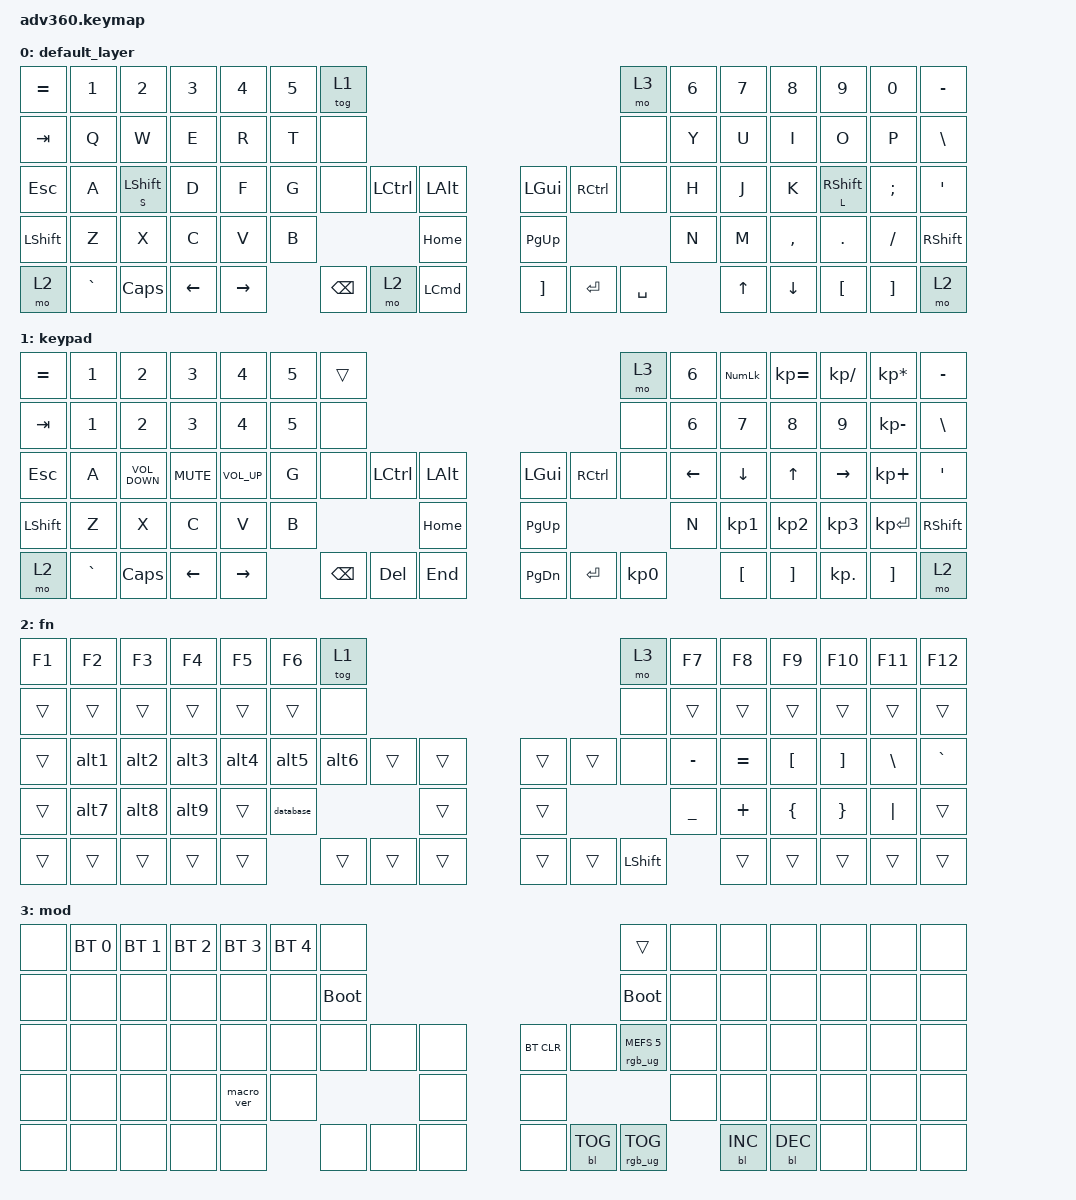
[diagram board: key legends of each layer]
#include <behaviors.dtsi>
#include <dt-bindings/zmk/backlight.h>
#include <dt-bindings/zmk/bt.h>
#include <dt-bindings/zmk/keys.h>
#include <dt-bindings/zmk/rgb.h>

/ {
    behaviors {
        #include "macros.dtsi"
      #include "version.dtsi"
      #ifndef VERSION_MACRO

        macro_ver: macro_ver {
            compatible = "zmk,behavior-macro";
            label = "macro_version";
            #binding-cells = <0>;
            bindings = <&kp RET>;
        };

        alt1: alt1 {
            compatible = "zmk,behavior-macro";
            #binding-cells = <0>;
            bindings =
                <&macro_press>,
                <&kp LEFT_ALT>,
                <&macro_tap>,
                <&kp NUMBER_1>,
                <&macro_release>,
                <&kp LEFT_ALT>;

            label = "ALT1";
        };

        alt2: alt2 {
            compatible = "zmk,behavior-macro";
            #binding-cells = <0>;
            bindings =
                <&macro_press>,
                <&kp LEFT_ALT>,
                <&macro_tap>,
                <&kp NUMBER_2>,
                <&macro_release>,
                <&kp LEFT_ALT>;

            label = "ALT2";
        };

        alt3: alt3 {
            compatible = "zmk,behavior-macro";
            #binding-cells = <0>;
            bindings =
                <&macro_press>,
                <&kp LEFT_ALT>,
                <&macro_tap>,
                <&kp NUMBER_3>,
                <&macro_release>,
                <&kp LEFT_ALT>;

            label = "ALT3";
        };

        alt4: alt4 {
            compatible = "zmk,behavior-macro";
            #binding-cells = <0>;
            bindings =
                <&macro_press>,
                <&kp LEFT_ALT>,
                <&macro_tap>,
                <&kp NUMBER_4>,
                <&macro_release>,
                <&kp LEFT_ALT>;

            label = "ALT4";
        };

        alt5: alt5 {
            compatible = "zmk,behavior-macro";
            #binding-cells = <0>;
            bindings =
                <&macro_press>,
                <&kp LEFT_ALT>,
                <&macro_tap>,
                <&kp NUMBER_5>,
                <&macro_release>,
                <&kp LEFT_ALT>;

            label = "ALT5";
        };

        alt6: alt6 {
            compatible = "zmk,behavior-macro";
            #binding-cells = <0>;
            bindings =
                <&macro_press>,
                <&kp LEFT_ALT>,
                <&macro_tap>,
                <&kp NUMBER_6>,
                <&macro_release>,
                <&kp LEFT_ALT>;

            label = "ALT6";
        };

        alt7: alt7 {
            compatible = "zmk,behavior-macro";
            #binding-cells = <0>;
            bindings =
                <&macro_press>,
                <&kp LEFT_ALT>,
                <&macro_tap>,
                <&kp NUMBER_7>,
                <&macro_release>,
                <&kp LEFT_ALT>;

            label = "ALT7";
        };

        alt8: alt8 {
            compatible = "zmk,behavior-macro";
            #binding-cells = <0>;
            bindings =
                <&macro_press>,
                <&kp LEFT_ALT>,
                <&macro_tap>,
                <&kp NUMBER_8>,
                <&macro_release>,
                <&kp LEFT_ALT>;

            label = "ALT8";
        };

        alt9: alt9 {
            compatible = "zmk,behavior-macro";
            #binding-cells = <0>;
            bindings =
                <&macro_press>,
                <&kp LEFT_ALT>,
                <&macro_tap>,
                <&kp NUMBER_9>,
                <&macro_release>,
                <&kp LEFT_ALT>;

            label = "ALT9";
        };

        database: database {
            compatible = "zmk,behavior-macro";
            #binding-cells = <0>;
            bindings =
                <&macro_press>,
                <&kp LEFT_ALT>,
                <&macro_tap>,
                <&kp D>,
                <&macro_release>,
                <&kp LEFT_ALT>;

            label = "DATABASE";
        };

        #endif

        hm: homerow_mods {
            compatible = "zmk,behavior-hold-tap";
            label = "HOMEROW_MODS";
            #binding-cells = <2>;
            tapping-term-ms = <200>;
            quick_tap_ms = <175>;
            flavor = "tap-preferred";
            bindings = <&kp>, <&kp>;
        };
    };

    combos {
        compatible = "zmk,combos";

        Alt {
            bindings = <&kp LEFT_ALT>;
            key-positions = <16 17>;
        };

        shift {
            bindings = <&kp LEFT_SHIFT>;
            key-positions = <66 69>;
        };

        copy {
            bindings = <&kp LG(C)>;
            key-positions = <49 50>;
        };

        paste {
            bindings = <&kp LG(V)>;
            key-positions = <50 51>;
        };

        layer1 {
            bindings = <&mo 1>;
            key-positions = <65 70>;
        };
    };

    macros {
    };

    keymap {
        compatible = "zmk,keymap";

        default_layer {
            bindings = <
&kp EQUAL  &kp N1     &kp N2            &kp N3    &kp N4     &kp N5  &tog 1                                                                   &mo 3      &kp N6  &kp N7  &kp N8     &kp N9             &kp N0         &kp MINUS
&kp TAB    &kp Q      &kp W             &kp E     &kp R      &kp T   &none                                                                    &none      &kp Y   &kp U   &kp I      &kp O              &kp P          &kp BSLH
&kp ESC    &kp A      &hm S LEFT_SHIFT  &kp D     &kp F      &kp G   &none     &kp LCTRL  &kp LALT              &kp LGUI           &kp RCTRL  &none      &kp H   &kp J   &kp K      &hm L RIGHT_SHIFT  &kp SEMICOLON  &kp SQT
&kp LSHFT  &kp Z      &kp X             &kp C     &kp V      &kp B                        &kp HOME              &kp PG_UP                                &kp N   &kp M   &kp COMMA  &kp PERIOD         &kp SLASH      &kp RSHFT
&mo 2      &kp GRAVE  &kp CAPS          &kp LEFT  &kp RIGHT          &kp BSPC  &mo 2      &kp LEFT_COMMAND      &kp RIGHT_BRACKET  &kp ENTER  &kp SPACE          &kp UP  &kp DOWN   &kp LBKT           &kp RBKT       &mo 2
            >;
        };

        keypad {
            bindings = <
&kp EQUAL  &kp N1        &kp N2             &kp N3        &kp N4           &kp N5  &trans                                                   &mo 3      &kp N6        &kp KP_NUM        &kp KP_EQUAL       &kp KP_DIVIDE  &kp KP_MULTIPLY  &kp MINUS
&kp TAB    &kp NUMBER_1  &kp NUMBER_2       &kp NUMBER_3  &kp NUMBER_4     &kp N5  &none                                                    &none      &kp NUMBER_6  &kp NUMBER_7      &kp NUMBER_8       &kp NUMBER_9   &kp KP_MINUS     &kp BSLH
&kp ESC    &kp A         &kp K_VOLUME_DOWN  &kp K_MUTE    &kp K_VOLUME_UP  &kp G   &none     &kp LCTRL  &kp LALT      &kp LGUI   &kp RCTRL  &none      &kp LEFT      &kp DOWN          &kp UP_ARROW       &kp RIGHT      &kp KP_PLUS      &kp SQT
&kp LSHFT  &kp Z         &kp X              &kp C         &kp V            &kp B                        &kp HOME      &kp PG_UP                        &kp N         &kp KP_N1         &kp KP_N2          &kp KP_N3      &kp KP_ENTER     &kp RSHFT
&mo 2      &kp GRAVE     &kp CAPS           &kp LEFT      &kp RIGHT                &kp BSPC  &kp DEL    &kp END       &kp PG_DN  &kp ENTER  &kp KP_N0                &kp LEFT_BRACKET  &kp RIGHT_BRACKET  &kp KP_DOT     &kp RBKT         &mo 2
            >;
        };

        fn {
            bindings = <
&kp F1  &kp F2  &kp F3  &kp F4  &kp F5  &kp F6     &tog 1                                      &mo 3           &kp F7          &kp F8     &kp F9            &kp F10            &kp F11        &kp F12
&trans  &trans  &trans  &trans  &trans  &trans     &none                                       &none           &trans          &trans     &trans            &trans             &trans         &trans
&trans  &alt1   &alt2   &alt3   &alt4   &alt5      &alt6   &trans  &trans      &trans  &trans  &none           &kp MINUS       &kp EQUAL  &kp LEFT_BRACKET  &kp RIGHT_BRACKET  &kp BACKSLASH  &kp GRAVE
&trans  &alt7   &alt8   &alt9   &trans  &database                  &trans      &trans                          &kp UNDERSCORE  &kp PLUS   &kp LEFT_BRACE    &kp RIGHT_BRACE    &kp PIPE       &trans
&trans  &trans  &trans  &trans  &trans             &trans  &trans  &trans      &trans  &trans  &kp LEFT_SHIFT                  &trans     &trans            &trans             &trans         &trans
            >;
        };

        mod {
            bindings = <
&none  &bt BT_SEL 0  &bt BT_SEL 1  &bt BT_SEL 2  &bt BT_SEL 3  &bt BT_SEL 4  &none                                                  &trans                  &none  &none       &none       &none  &none  &none
&none  &none         &none         &none         &none         &none         &bootloader                                            &bootloader             &none  &none       &none       &none  &none  &none
&none  &none         &none         &none         &none         &none         &none        &none  &none      &bt BT_CLR  &none       &rgb_ug RGB_MEFS_CMD 5  &none  &none       &none       &none  &none  &none
&none  &none         &none         &none         &macro_ver    &none                             &none      &none                                           &none  &none       &none       &none  &none  &none
&none  &none         &none         &none         &none                       &none        &none  &none      &none       &bl BL_TOG  &rgb_ug RGB_TOG                &bl BL_INC  &bl BL_DEC  &none  &none  &none
            >;
        };
    };
};
